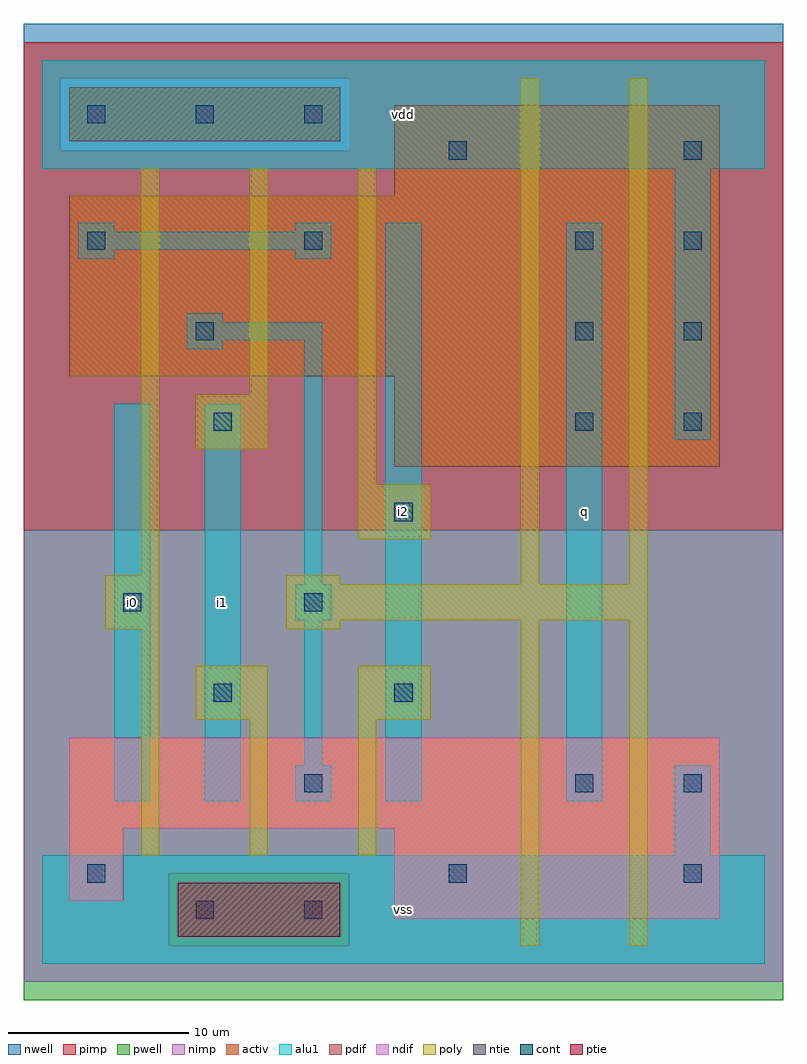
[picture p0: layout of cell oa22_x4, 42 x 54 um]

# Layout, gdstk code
import gdstk
lib = gdstk.Library(unit=1e-6, precision=1e-09)
def R(c, l, rs):  # rectangles x0, y0, x1, y1
    for r in rs: c.add(gdstk.rectangle(r[:2], r[2:], *l))
def A(c, l, x, y, w, h, nx, ny, dx, dy):  # array of equal rectangles
    R(c, l, [(x+i*dx, y+j*dy, x+i*dx+w, y+j*dy+h) for i in range(nx) for j in range(ny)])
ndif = (3, 0)
pdif = (4, 0)
ntie = (5, 0)
ptie = (6, 0)
cont = (25, 0)
pwell = (41, 0)
nwell = (42, 0)
activ = (43, 0)
pimp = (44, 0)
nimp = (45, 0)
poly = (46, 0)
alu1 = (49, 0)

oa22_x4 = lib.new_cell('oa22_x4')
R(oa22_x4, ndif, [(19.5,2.5,37.5,7.5), (1.5,3.5,4.5,7.5), (1.5,7.5,37.5,12.5)])
R(oa22_x4, pdif, [(19.5,27.5,37.5,32.5), (1.5,32.5,37.5,42.5), (19.5,42.5,37.5,47.5)])
R(oa22_x4, ntie, [(1.5,45.5,16.5,48.5)])
R(oa22_x4, ptie, [(7.5,1.5,16.5,4.5)])
A(oa22_x4, cont, 29.5, 29.5, 1, 1, 1, 3, 0, 5)
A(oa22_x4, cont, 35.5, 29.5, 1, 1, 1, 4, 0, 5)
A(oa22_x4, cont, 2.5, 46.5, 1, 1, 3, 1, 6, 0)
R(oa22_x4, cont, [(8.5,2.5,9.5,3.5), (14.5,2.5,15.5,3.5), (2.5,4.5,3.5,5.5), (22.5,4.5,23.5,5.5), (35.5,4.5,36.5,5.5), (14.5,9.5,15.5,10.5), (29.5,9.5,30.5,10.5), (35.5,9.5,36.5,10.5), (9.5,14.5,10.5,15.5), (19.5,14.5,20.5,15.5), (4.5,19.5,5.5,20.5), (14.5,19.5,15.5,20.5), (19.5,24.5,20.5,25.5), (9.5,29.5,10.5,30.5), (8.5,34.5,9.5,35.5), (2.5,39.5,3.5,40.5), (14.5,39.5,15.5,40.5), (22.5,44.5,23.5,45.5)])
R(oa22_x4, pwell, [(-1,-2,41,24)])
R(oa22_x4, nwell, [(-1,24,41,52)])
R(oa22_x4, activ, [(7.5,1.5,16.5,4.5), (19.5,2.5,37.5,7.5), (1.5,3.5,4.5,7.5), (1.5,7.5,37.5,12.5), (19.5,27.5,37.5,32.5), (1.5,32.5,37.5,42.5), (19.5,42.5,37.5,47.5), (1.5,45.5,16.5,48.5)])
R(oa22_x4, pimp, [(7,1,17,5), (-1,24,41,45), (-1,45,1,49), (17,45,41,49), (-1,49,41,51)])
R(oa22_x4, nimp, [(-1,-1,41,1), (-1,1,7,5), (17,1,41,5), (-1,5,41,24), (1,45,17,49)])
R(oa22_x4, poly, [(26.5,1,27.5,19), (32.5,1,33.5,19), (5.5,6,6.5,18.5), (11.5,6,12.5,13.5), (17.5,6,18.5,13.5), (8.5,13.5,12.5,16.5), (17.5,13.5,21.5,16.5), (3.5,18.5,6.5,21.5), (13.5,18.5,16.5,19), (13.5,19,33.5,21), (13.5,21,16.5,21.5), (26.5,21,27.5,49), (32.5,21,33.5,49), (5.5,21.5,6.5,44), (17.5,23.5,21.5,26.5), (17.5,26.5,18.5,44), (8.5,28.5,12.5,31.5), (11.5,31.5,12.5,44)])
R(oa22_x4, alu1, [(0,0,40,6), (35,6,37,11), (4,9,6,31), (9,9,11,31), (14,9,16,11), (19,9,21,41), (29,9,31,41), (14.5,11,15.5,19), (14,19,16,21), (14.5,21,15.5,34.5), (35,29,37,44), (8,34,10,34.5), (8,34.5,15.5,35.5), (8,35.5,10,36), (2,39,4,39.5), (14,39,16,39.5), (2,39.5,16,40.5), (2,40.5,4,41), (14,40.5,16,41), (0,44,40,50)])
oa22_x4.add(gdstk.Label('i0', (5,20), layer=49, texttype=0))
oa22_x4.add(gdstk.Label('i1', (10,20), layer=49, texttype=0))
oa22_x4.add(gdstk.Label('vss', (20,3), layer=49, texttype=0))
oa22_x4.add(gdstk.Label('i2', (20,25), layer=49, texttype=0))
oa22_x4.add(gdstk.Label('vdd', (20,47), layer=49, texttype=0))
oa22_x4.add(gdstk.Label('q', (30,25), layer=49, texttype=0))

lib.write_gds('oa22_x4.gds')
